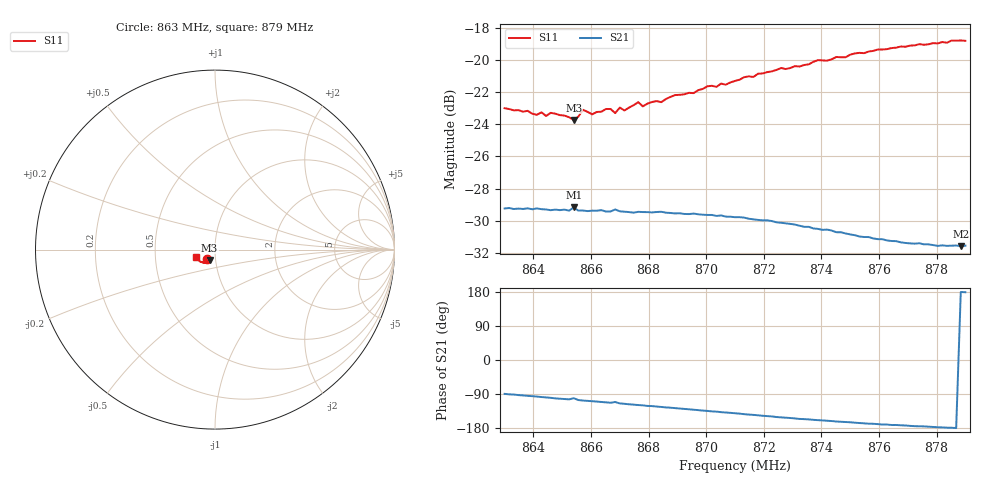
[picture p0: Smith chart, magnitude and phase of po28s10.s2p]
# HZ S RI R 50
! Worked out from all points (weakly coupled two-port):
!   101 points, 863 MHz to 879 MHz, reference 50 ohm
!   highest |S21| = -29.18 dB at 865.4 MHz (marker M1); lowest = -31.6 dB at 878.84 MHz (marker M2)
!   lowest |S11| = -23.7 dB at 865.4 MHz (marker M3), VSWR 1.14, Z = 46.7 - j5.39 ohm
!   |S11| at or under -10 dB: start of sweep to end of sweep
!   S12 and S22 are empty: the file has one direction only
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8.63e8  -0.0454 -0.0544  0.000373 -0.0345  0 0  0 0
8.6412e8  -0.0402 -0.0544  -0.00384 -0.0343  0 0  0 0
8.6428e8  -0.0404 -0.0557  -0.00463 -0.034  0 0  0 0
8.6444e8  -0.0396 -0.0541  -0.00524 -0.0339  0 0  0 0
8.646e8  -0.0395 -0.0561  -0.0058 -0.0336  0 0  0 0
8.6524e8  -0.0371 -0.0552  -0.00815 -0.033  0 0  0 0
8.654e8  -0.0306 -0.0575  -0.00651 -0.0342  0 0  0 0
8.6572e8  -0.0377 -0.0591  -0.00995 -0.0325  0 0  0 0
8.6604e8  -0.0359 -0.0576  -0.0109 -0.0322  0 0  0 0
8.6668e8  -0.0364 -0.0604  -0.0131 -0.0311  0 0  0 0
8.6684e8  -0.0332 -0.0599  -0.0122 -0.032  0 0  0 0
8.67e8  -0.0369 -0.0609  -0.0141 -0.0307  0 0  0 0
8.6716e8  -0.0351 -0.0603  -0.0146 -0.0304  0 0  0 0
8.6764e8  -0.0386 -0.0632  -0.0163 -0.0295  0 0  0 0
8.678e8  -0.0369 -0.0617  -0.0166 -0.0292  0 0  0 0
8.6844e8  -0.0377 -0.0637  -0.0188 -0.028  0 0  0 0
8.6892e8  -0.0399 -0.0669  -0.02 -0.0266  0 0  0 0
8.71e8  -0.0489 -0.071  -0.025 -0.0206  0 0  0 0
8.7372e8  -0.0676 -0.0722  -0.0277 -0.0112  0 0  0 0
8.7644e8  -0.091 -0.0604  -0.027 -0.00401  0 0  0 0
8.7884e8  -0.108 -0.0406  -0.0263 0.000253  0 0  0 0
8.79e8  -0.1084 -0.0386  -0.0264 0.000512  0 0  0 0
